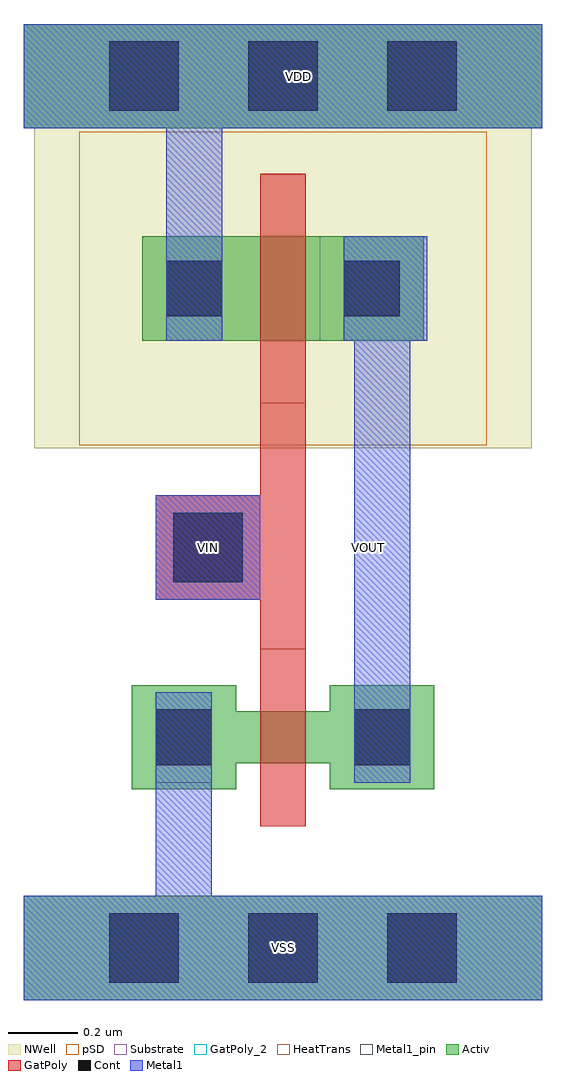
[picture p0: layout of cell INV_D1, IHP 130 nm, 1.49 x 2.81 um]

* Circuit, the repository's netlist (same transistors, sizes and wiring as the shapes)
** sch_path: /foss/designs/GRO-TDC/std_cells/INV_D1.sch
.subckt INV_D1 VDD VOUT VIN VSS
*.PININFO VDD:B VSS:B VOUT:O VIN:I
M2 VOUT VIN VDD VDD sg13_lv_pmos w=0.3u l=0.13u ng=1 m=1
M1 VOUT VIN VSS VSS sg13_lv_nmos w=0.15u l=0.13u ng=1 m=1
.ends

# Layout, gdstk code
import gdstk
lib = gdstk.Library(unit=1e-6, precision=5e-09)
def R(c, l, rs):  # rectangles x0, y0, x1, y1
    for r in rs: c.add(gdstk.rectangle(r[:2], r[2:], *l))
def A(c, l, x, y, w, h, nx, ny, dx, dy):  # array of equal rectangles
    R(c, l, [(x+i*dx, y+j*dy, x+i*dx+w, y+j*dy+h) for i in range(nx) for j in range(ny)])
Activ = (1, 0)
GatPoly = (5, 0)
GatPoly_2 = (5, 2)
Cont = (6, 0)
Metal1 = (8, 0)
Metal1_pin = (8, 2)
pSD = (14, 0)
NWell = (31, 0)
Substrate = (40, 0)
HeatTrans = (51, 0)

nmos = lib.new_cell('nmos')
R(nmos, Activ, [(0,0,0.3,0.3), (0.57,0,0.87,0.3), (0,0.075,0.87,0.225)])
R(nmos, GatPoly, [(0.37,-0.105,0.5,0.405)])
R(nmos, GatPoly_2, [(0.37,-0.105,0.5,0.405)])
R(nmos, Cont, [(0.07,0.07,0.23,0.23), (0.64,0.07,0.8,0.23)])
R(nmos, Metal1, [(0.07,0.02,0.23,0.28), (0.64,0.02,0.8,0.28)])
R(nmos, Metal1_pin, [(0.07,0.02,0.23,0.28), (0.64,0.02,0.8,0.28)])
R(nmos, HeatTrans, [(0.37,-0.105,0.5,0.405)])
nmos.add(gdstk.Label('nmos', (0.435,0.15), layer=63, texttype=0))
nmos.add(gdstk.Label('nmos', (0.435,0.15), layer=51, texttype=0))

pmos_1 = lib.new_cell('pmos$1')
R(pmos_1, Activ, [(0,0,0.3,0.3), (0,0,0.81,0.3), (0.51,0,0.81,0.3)])
R(pmos_1, GatPoly, [(0.34,-0.18,0.47,0.48), (0.34,-0.18,0.47,0.48)])
R(pmos_1, Cont, [(0.07,0.07,0.23,0.23), (0.58,0.07,0.74,0.23)])
R(pmos_1, Metal1, [(0.07,0,0.23,0.3), (0.07,0,0.23,0.3), (0.58,0,0.74,0.3), (0.58,0,0.74,0.3)])
R(pmos_1, pSD, [(-0.18,-0.3,0.99,0.6)])
R(pmos_1, NWell, [(-0.31,-0.31,1.12,0.61)])
R(pmos_1, Substrate, [(0.51,0,0.81,0.3)])
R(pmos_1, HeatTrans, [(0.34,-0.18,0.47,0.48)])
pmos_1.add(gdstk.Label('pmos', (0.405,0.15), layer=63, texttype=0))
pmos_1.add(gdstk.Label('pmos', (0.405,0.15), layer=51, texttype=0))

inv_d1 = lib.new_cell('INV_D1')
R(inv_d1, Activ, [(0,-1.585,1.49,-1.285), (0,0.92,1.49,1.22)])
R(inv_d1, GatPoly, [(0.68,-1.085,0.81,0.79), (0.38,-0.435,0.68,-0.135)])
A(inv_d1, Cont, 0.245, -1.535, 0.2, 0.2, 3, 2, 0.4, 2.505)
R(inv_d1, Cont, [(0.43,-0.385,0.63,-0.185)])
R(inv_d1, Metal1, [(0,-1.585,1.49,-1.285), (0.38,-1.435,0.54,-0.7), (0.95,-0.96,1.11,0.59), (0.38,-0.435,0.68,-0.135), (0.41,0.31,0.57,1.07), (0.92,0.31,1.16,0.61), (0,0.92,1.49,1.22)])
R(inv_d1, Metal1_pin, [(0,-1.585,1.49,-1.285), (0.95,-0.96,1.11,0.59), (0.92,0.31,1.16,0.61), (0,0.92,1.49,1.22)])
R(inv_d1, pSD, [(0,-1.585,1.49,-1.285)])
R(inv_d1, NWell, [(0,0.92,1.49,1.22)])
inv_d1.add(gdstk.Reference(nmos, (0.31,-0.98)))
inv_d1.add(gdstk.Reference(pmos_1, (0.34,0.31)))
inv_d1.add(gdstk.Label('VOUT', (0.99,-0.285), layer=8, texttype=25))
inv_d1.add(gdstk.Label('VIN', (0.53,-0.285), layer=8, texttype=25))
inv_d1.add(gdstk.Label('VDD', (0.79,1.07), layer=8, texttype=25))
inv_d1.add(gdstk.Label('VSS', (0.745,-1.435), layer=8, texttype=25))

lib.write_gds('INV_D1.gds')
